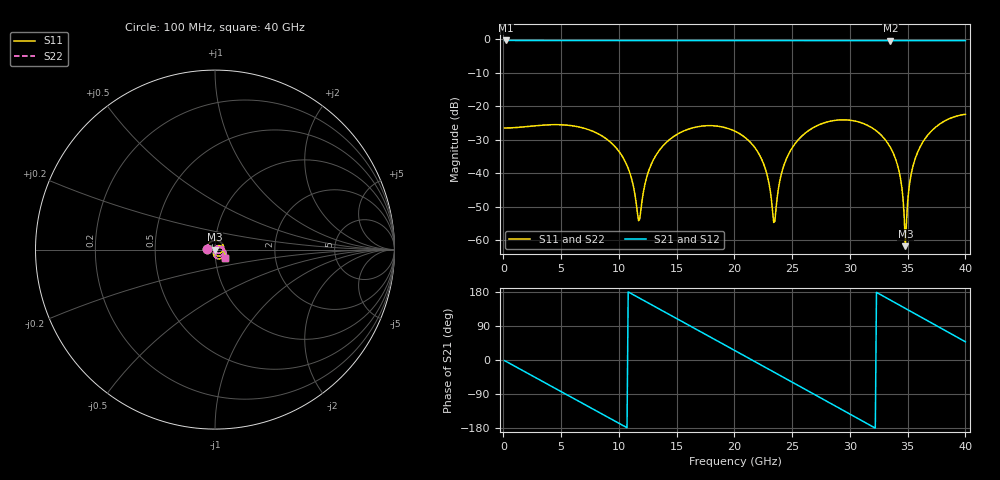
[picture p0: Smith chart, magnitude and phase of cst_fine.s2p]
! thru_s8x4_L1: 2×thru, L1, 8 mm
! stackup: 8-layer 1.6 mm FR-4 without the L4 plane
! ports: 1, 2
! CST Studio Suite 2025.5 Release from 2025-05-30, time domain (FIT, hexahedral, PBA), 220000 mesh cells, 40 s
! mesh: {'lpw': 30.0, 'lpb': 30.0, 'minstep': 0.0, 'ratio': 20}; ports: port 1 (face); port 2 (face)
! interpolated from CST's 1001 samples to the case grid
# Hz S RI R 50
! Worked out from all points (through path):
!   400 points, 100 MHz to 40 GHz, reference 50 ohm
!   highest |S21| = -0.42 dB at 200 MHz (marker M1); lowest = -0.5 dB at 33.5 GHz (marker M2)
!   group delay of S21, straight-line fit = 46.6 ps
!   lowest |S11| = -61.8 dB at 34.8 GHz (marker M3), VSWR 1.00, Z = 49.9 + j0.0333 ohm
!   |S11| at or under -10 dB: start of sweep to end of sweep
!   |S22| runs from -61.8 to -22.5 dB; largest |S21 - S12| = 5e-07
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1e8  -0.047 0.00247  0.9521 -0.0278  0.9521 -0.0278  -0.047 0.00247
2e8  -0.0468 0.00494  0.9509 -0.0556  0.9509 -0.0556  -0.0468 0.00494
3.8e9  0.0145 0.0503  0.4236 -0.8513  0.4236 -0.8513  0.0145 0.0503
6.8e9  0.0473 0.00457  -0.38 -0.8696  -0.38 -0.8696  0.0473 0.00457
1.03e10  0.00651 -0.0164  -0.9393 -0.1322  -0.9393 -0.1322  0.00651 -0.0164
1.17e10  -0.00189 -0.000483  -0.9148 0.2517  -0.9148 0.2517  -0.00189 -0.000483
1.24e10  -0.000136 0.0086  -0.8449 0.4321  -0.8449 0.4321  -0.000136 0.0086
1.34e10  0.00879 0.0188  -0.6847 0.6572  -0.6847 0.6572  0.00879 0.0188
1.67e10  0.0487 0.00142  0.1502 0.9365  0.1502 0.9365  0.0487 0.00142
2.01e10  0.0208 -0.0361  0.8662 0.3838  0.8662 0.3838  0.0208 -0.0361
2.24e10  -0.0039 -0.015  0.9163 -0.2401  0.9163 -0.2401  -0.0039 -0.015
2.34e10  -0.00183 0.000138  0.808 -0.4947  0.808 -0.4947  -0.00183 0.000138
2.44e10  0.00883 0.0119  0.6304 -0.7074  0.6304 -0.7074  0.00883 0.0119
2.67e10  0.0457 0.00701  0.049 -0.9464  0.049 -0.9464  0.0457 0.00701
3.04e10  0.0332 -0.0499  -0.8149 -0.4809  -0.8149 -0.4809  0.0332 -0.0499
3.34e10  -0.00853 -0.0244  -0.8878 0.3243  -0.8878 0.3243  -0.00853 -0.0244
3.35e10  -0.0087 -0.0226  -0.8779 0.3503  -0.8779 0.3503  -0.0087 -0.0226
3.44e10  -0.00513 -0.00604  -0.7554 0.5682  -0.7554 0.5682  -0.00514 -0.00604
3.48e10  -0.000739 0.000333  -0.6833 0.6533  -0.6833 0.6533  -0.00074 0.000333
3.51e10  0.00354 0.00438  -0.623 0.7112  -0.623 0.7112  0.00354 0.00438
3.59e10  0.018 0.011  -0.4393 0.8375  -0.4393 0.8375  0.018 0.011
4e10  0.0573 -0.0488  0.633 0.7035  0.633 0.7035  0.0573 -0.0488
